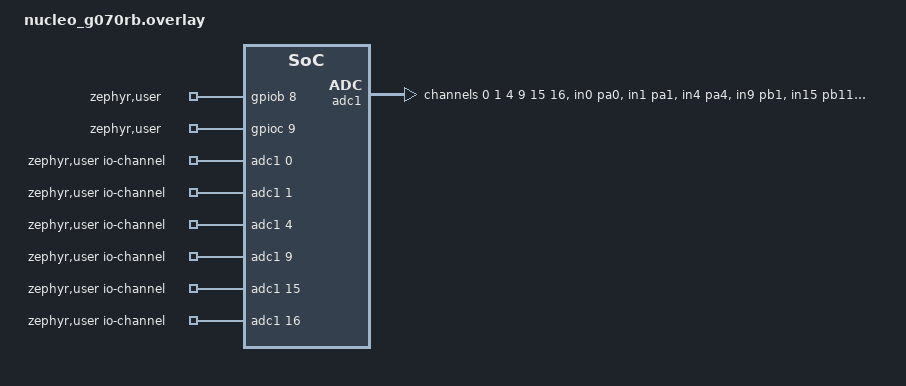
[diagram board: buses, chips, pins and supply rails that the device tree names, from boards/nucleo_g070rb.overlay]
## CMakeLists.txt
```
cmake_minimum_required(VERSION 3.20.0)
find_package(Zephyr REQUIRED HINTS $ENV{ZEPHYR_BASE})
project(adc_i2c_combined)

target_sources(app PRIVATE src/main.c)
```

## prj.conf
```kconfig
CONFIG_GPIO=y
CONFIG_ADC=y
CONFIG_ADC_STM32=y

CONFIG_CONSOLE=y
CONFIG_UART_CONSOLE=y
CONFIG_PRINTK=y
CONFIG_MAIN_STACK_SIZE=2048
```

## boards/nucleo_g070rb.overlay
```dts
#include <zephyr/dt-bindings/gpio/gpio.h>
#include <zephyr/dt-bindings/adc/adc.h>

&adc1 {
    pinctrl-0 = <&adc1_in0_pa0 &adc1_in1_pa1 &adc1_in4_pa4
                 &adc1_in9_pb1 &adc1_in15_pb11 &adc1_in16_pb12>;
    pinctrl-names = "default";
    st,adc-clock-source = "SYNC";
    st,adc-prescaler = <4>;
    #address-cells = <1>;
    #size-cells = <0>;
    status = "okay";

    channel@0 {
        reg = <0>;
        zephyr,gain = "ADC_GAIN_1";
        zephyr,reference = "ADC_REF_INTERNAL";
        zephyr,acquisition-time = <ADC_ACQ_TIME_DEFAULT>;
        zephyr,resolution = <12>;
    };

    channel@1 {
        reg = <1>;
        zephyr,gain = "ADC_GAIN_1";
        zephyr,reference = "ADC_REF_INTERNAL";
        zephyr,acquisition-time = <ADC_ACQ_TIME_DEFAULT>;
        zephyr,resolution = <12>;
    };

    channel@4 {
        reg = <4>;
        zephyr,gain = "ADC_GAIN_1";
        zephyr,reference = "ADC_REF_INTERNAL";
        zephyr,acquisition-time = <ADC_ACQ_TIME_DEFAULT>;
        zephyr,resolution = <12>;
    };

    channel@9 {
        reg = <9>;
        zephyr,gain = "ADC_GAIN_1";
        zephyr,reference = "ADC_REF_INTERNAL";
        zephyr,acquisition-time = <ADC_ACQ_TIME_DEFAULT>;
        zephyr,resolution = <12>;
    };

    channel@f {
        reg = <15>;
        zephyr,gain = "ADC_GAIN_1";
        zephyr,reference = "ADC_REF_INTERNAL";
        zephyr,acquisition-time = <ADC_ACQ_TIME_DEFAULT>;
        zephyr,resolution = <12>;
    };

    channel@10 {
        reg = <16>;
        zephyr,gain = "ADC_GAIN_1";
        zephyr,reference = "ADC_REF_INTERNAL";
        zephyr,acquisition-time = <ADC_ACQ_TIME_DEFAULT>;
        zephyr,resolution = <12>;
    };
};

/ {
    zephyr,user {
        /* ADC channels: idx 0-5 */
        io-channels = <&adc1 0>, <&adc1 1>, <&adc1 4>,
                      <&adc1 9>, <&adc1 15>, <&adc1 16>;

        /* Bit-banged I2C pins: idx 0 = SCL, idx 1 = SDA */
        gpios = <&gpiob 8 (GPIO_OPEN_DRAIN | GPIO_PULL_UP)>,
                <&gpioc 9 (GPIO_OPEN_DRAIN | GPIO_PULL_UP)>;
    };
};
```

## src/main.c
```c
#include <zephyr/kernel.h>
#include <zephyr/device.h>
#include <zephyr/devicetree.h>
#include <zephyr/drivers/adc.h>
#include <zephyr/drivers/gpio.h>
#include <zephyr/drivers/uart.h>

#define USER_NODE DT_PATH(zephyr_user)

/* ======================= ADC ======================= */
static const struct adc_dt_spec adc_channels[] = {
    ADC_DT_SPEC_GET_BY_IDX(USER_NODE, 0), /* CH1 - PA0  */
    ADC_DT_SPEC_GET_BY_IDX(USER_NODE, 1), /* CH2 - PA1  */
    ADC_DT_SPEC_GET_BY_IDX(USER_NODE, 2), /* CH3 - PA4  */
    ADC_DT_SPEC_GET_BY_IDX(USER_NODE, 3), /* CH4 - PB1  */
    ADC_DT_SPEC_GET_BY_IDX(USER_NODE, 4), /* CH5 - PB11 */
    ADC_DT_SPEC_GET_BY_IDX(USER_NODE, 5), /* CH6 - PB12 */
};

static const char *channel_names[] = {
    "CH1(PA0)", "CH2(PA1)", "CH3(PA4)",
    "CH4(PB1)", "CH5(PB11)", "CH6(PB12)"
};

/* ======================= I2C bit-bang (SCL=PB8, SDA=PC9) ======================= */
#define I2C_DELAY_US 5U

static const struct gpio_dt_spec scl =
    GPIO_DT_SPEC_GET_BY_IDX(USER_NODE, gpios, 0); /* SCL = PB8 */
static const struct gpio_dt_spec sda =
    GPIO_DT_SPEC_GET_BY_IDX(USER_NODE, gpios, 1); /* SDA = PC9 */

static const struct device *const console_dev =
    DEVICE_DT_GET(DT_CHOSEN(zephyr_console));

#define AD5694_I2C_ADDR         0x0C
#define AD5694_CMD_WRITE_UPDATE 0x3F

#define NUM_VOLTAGES 5
static const uint16_t dac_codes[NUM_VOLTAGES] = {
    0x000, 0x441, 0x854, 0xC72, 0xFFF
};
static const char *voltage_labels[NUM_VOLTAGES] = {
    "0.00 V", "1.30 V", "2.50 V", "3.75 V", "5.00 V"
};

static inline void scl_high(void) { gpio_pin_set_dt(&scl, 1); }
static inline void scl_low(void)  { gpio_pin_set_dt(&scl, 0); }
static inline void sda_high(void) { gpio_pin_set_dt(&sda, 1); }
static inline void sda_low(void)  { gpio_pin_set_dt(&sda, 0); }
static inline int  sda_read(void) { return gpio_pin_get_dt(&sda); }

static void i2c_start(void)
{
    sda_high(); scl_high(); k_busy_wait(I2C_DELAY_US);
    sda_low();  k_busy_wait(I2C_DELAY_US);
    scl_low();  k_busy_wait(I2C_DELAY_US);
}

static void i2c_stop(void)
{
    sda_low();  k_busy_wait(I2C_DELAY_US);
    scl_high(); k_busy_wait(I2C_DELAY_US);
    sda_high(); k_busy_wait(I2C_DELAY_US);
}

static int i2c_write_byte(uint8_t byte)
{
    for (int i = 0; i < 8; i++) {
        (byte & 0x80) ? sda_high() : sda_low();
        k_busy_wait(I2C_DELAY_US);
        scl_high(); k_busy_wait(I2C_DELAY_US);
        scl_low();  byte <<= 1;
        k_busy_wait(I2C_DELAY_US);
    }
    sda_high(); k_busy_wait(I2C_DELAY_US);
    scl_high(); k_busy_wait(I2C_DELAY_US);
    int ack = (sda_read() == 0) ? 0 : 1;
    scl_low();  k_busy_wait(I2C_DELAY_US);
    return ack;
}

static int i2c_bitbang_init(void)
{
    if (!gpio_is_ready_dt(&scl) || !gpio_is_ready_dt(&sda)) {
        printk("I2C GPIO controller not ready\n");
        return -ENODEV;
    }
    int ret = gpio_pin_configure_dt(&scl, GPIO_OUTPUT_HIGH);
    if (ret) { printk("Failed to configure SCL (PB8): %d\n", ret); return ret; }

    ret = gpio_pin_configure_dt(&sda, GPIO_OUTPUT_HIGH | GPIO_INPUT);
    if (ret) { printk("Failed to configure SDA (PC9): %d\n", ret); return ret; }

    return 0;
}

static bool AD5694_SetVoltage(uint16_t code)
{
    code &= 0x0FFF;
    uint8_t msb = (uint8_t)((code >> 4) & 0xFF);
    uint8_t lsb = (uint8_t)((code & 0x0F) << 4);

    i2c_start();
    int ack_addr = i2c_write_byte((uint8_t)(AD5694_I2C_ADDR << 1));
    int ack_cmd  = i2c_write_byte(AD5694_CMD_WRITE_UPDATE);
    int ack_msb  = i2c_write_byte(msb);
    int ack_lsb  = i2c_write_byte(lsb);
    i2c_stop();

    return (ack_addr == 0 && ack_cmd == 0 && ack_msb == 0 && ack_lsb == 0);
}

static bool console_key_pressed(void)
{
    unsigned char c;
    return uart_poll_in(console_dev, &c) == 0;
}

/* ======================= main ======================= */
int main(void)
{
    /* --- ADC init --- */
    for (size_t i = 0; i < ARRAY_SIZE(adc_channels); i++) {
        if (!adc_is_ready_dt(&adc_channels[i])) {
            printk("ERROR: ADC controller for %s not ready\n", channel_names[i]);
            return 0;
        }
        int err = adc_channel_setup_dt(&adc_channels[i]);
        if (err < 0) {
            printk("ERROR: Could not setup %s (err %d)\n", channel_names[i], err);
            return 0;
        }
    }

    /* --- I2C / DAC init --- */
    if (i2c_bitbang_init() < 0) {
        return 0;
    }
    if (!device_is_ready(console_dev)) {
        printk("Console UART not ready\n");
        return 0;
    }

    printk("ADC + I2C-DAC combined app ready\n");
    printk("Send any char over console to step DAC voltage\n\n");

    uint8_t step = 0;
    if (AD5694_SetVoltage(dac_codes[0])) {
        printk("[INIT] DAC set to %s\n", voltage_labels[0]);
    } else {
        printk("[ERROR] Initial DAC write failed!\n");
    }

    uint16_t buf;
    struct adc_sequence sequence = {
        .buffer = &buf,
        .buffer_size = sizeof(buf),
    };

    int64_t last_adc_print = 0;

    while (1) {
        /* --- Step DAC on keypress --- */
        if (console_key_pressed()) {
            step = (step + 1) % NUM_VOLTAGES;
            if (AD5694_SetVoltage(dac_codes[step])) {
                printk("[DAC] Output = %s (code=0x%03X)\n",
                       voltage_labels[step], dac_codes[step]);
            } else {
                printk("[ERROR] DAC write failed!\n");
            }
        }

        /* --- Read ADC every 1s --- */
        if (k_uptime_get() - last_adc_print >= 1000) {
            for (size_t i = 0; i < ARRAY_SIZE(adc_channels); i++) {
                (void)adc_sequence_init_dt(&adc_channels[i], &sequence);
                int err = adc_read_dt(&adc_channels[i], &sequence);
                if (err < 0) {
                    printk("%s: read error (%d)\n", channel_names[i], err);
                    continue;
                }
                int32_t val_mv = (int32_t)buf;
                err = adc_raw_to_millivolts_dt(&adc_channels[i], &val_mv);
                if (err < 0) {
                    printk("%-11s raw=%4d (mV n/a)\n", channel_names[i], buf);
                } else {
                    printk("%-11s raw=%4d  %4d mV\n", channel_names[i], buf, val_mv);
                }
            }
            printk("----\n");
            last_adc_print = k_uptime_get();
        }

        k_sleep(K_MSEC(10));
    }

    return 0;
}
```
